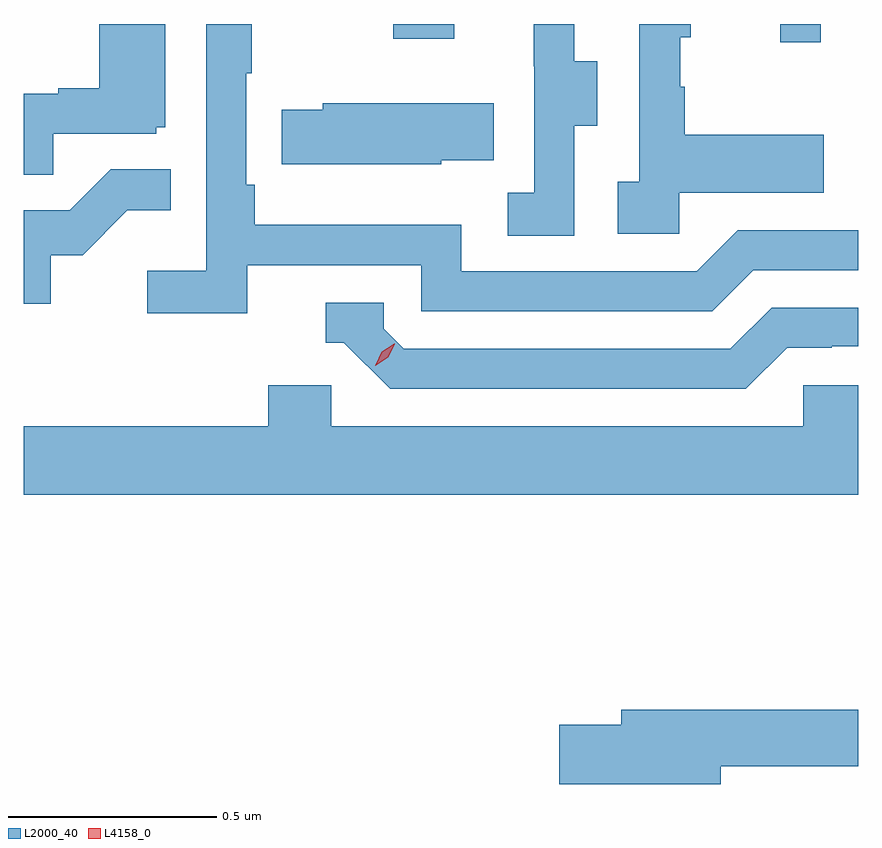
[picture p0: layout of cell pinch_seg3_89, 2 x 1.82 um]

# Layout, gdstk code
import gdstk
lib = gdstk.Library(unit=1e-6, precision=1e-09)
def R(c, l, rs):  # rectangles x0, y0, x1, y1
    for r in rs: c.add(gdstk.rectangle(r[:2], r[2:], *l))
def P(c, l, *ps):  # polygons
    for p in ps: c.add(gdstk.Polygon(p, *l))
L2000_40 = (2000, 40)
L4158_0 = (4158, 0)

pinch_seg3_89 = lib.new_cell('pinch_seg3_89')
R(pinch_seg3_89, L2000_40, [(1047.872,723.312,1047.969,723.356), (1046.944,723.321,1047.091,723.356)])
P(pinch_seg3_89, L2000_40, [(1046.594,722.778),(1047.012,722.778),(1047.012,722.667),(1047.709,722.667),(1047.808,722.766),(1048.059,722.766),(1048.059,722.862),(1047.771,722.862),(1047.672,722.763),(1047.108,722.763),(1047.108,722.875),(1046.612,722.875),(1046.612,722.971),(1046.592,722.971),(1046.592,723.238),(1046.605,723.238),(1046.605,723.356),(1046.496,723.356),(1046.496,722.764),(1046.355,722.764),(1046.355,722.662),(1046.594,722.662)],
  [(1047.63,722.951),(1047.977,722.951),(1047.977,723.091),(1047.643,723.091),(1047.643,723.206),(1047.633,723.206),(1047.633,723.324),(1047.658,723.324),(1047.658,723.356),(1047.534,723.356),(1047.534,722.978),(1047.483,722.978),(1047.483,722.853),(1047.63,722.853)],
  [(1047.378,723.112),(1047.433,723.112),(1047.433,723.267),(1047.379,723.267),(1047.379,723.356),(1047.281,723.356),(1047.281,723.255),(1047.282,723.255),(1047.282,722.951),(1047.219,722.951),(1047.219,722.848),(1047.378,722.848)],
  [(1046.129,723.093),(1046.376,723.093),(1046.376,723.108),(1046.398,723.108),(1046.398,723.356),(1046.24,723.356),(1046.24,723.202),(1046.141,723.202),(1046.141,723.189),(1046.059,723.189),(1046.059,722.995),(1046.129,722.995)],
  [(1047.06,723.029),(1047.185,723.029),(1047.185,723.166),(1046.775,723.166),(1046.775,723.15),(1046.677,723.15),(1046.677,723.02),(1047.06,723.02)],
  [(1046.124,722.802),(1046.2,722.802),(1046.307,722.909),(1046.411,722.909),(1046.411,723.008),(1046.267,723.008),(1046.169,722.91),(1046.059,722.91),(1046.059,722.685),(1046.124,722.685)],
  [(1047.889,722.58),(1047.996,722.58),(1047.996,722.583),(1048.059,722.583),(1048.059,722.676),(1047.852,722.676),(1047.753,722.577),(1046.97,722.577),(1046.922,722.625),(1046.922,722.688),(1046.783,722.688),(1046.783,722.592),(1046.826,722.592),(1046.937,722.481),(1047.79,722.481)],
  [(1048.059,722.49),(1047.927,722.49),(1047.927,722.392),(1046.796,722.392),(1046.796,722.49),(1046.645,722.49),(1046.645,722.392),(1046.059,722.392),(1046.059,722.228),(1048.059,722.228)],
  [(1047.73,721.576),(1048.059,721.576),(1048.059,721.712),(1047.491,721.712),(1047.491,721.676),(1047.342,721.676),(1047.342,721.534),(1047.73,721.534)])
P(pinch_seg3_89, L4158_0, [(1046.901,722.537),(1046.901,722.537),(1046.917,722.57),(1046.947,722.59),(1046.948,722.59),(1046.948,722.589),(1046.932,722.557),(1046.901,722.537)])

lib.write_gds('pinch_seg3_89.gds')
